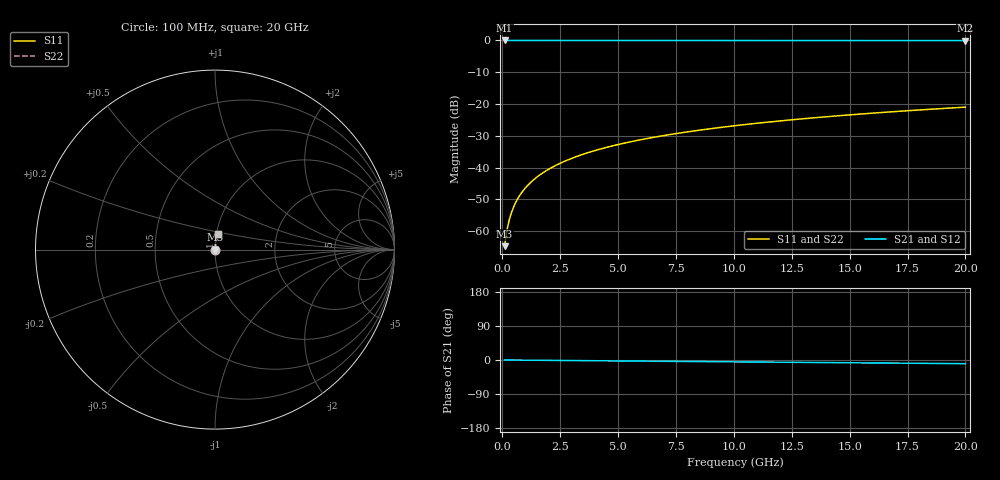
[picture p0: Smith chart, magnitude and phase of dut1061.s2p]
! Touchstone file exported from HFSS 2026.1.0
!  File:  C:/ffzhzh/LocalFiles/Ansys_Project_Files/temp_train_TSV_1061_1783189671_18472.aedt
!  Generated:  02:29:48 AM Jul  5, 2026
!  Design:  TSV
!  Project:  temp_train_TSV_1061_1783189671_18472
! Variables:
!  h_bsmrdl = 2um
!  h_ox = 20um
!  h_rdl = 5um
!  h_sub = 76.86um
!  h_tmrdl = 5um
!  h_tsv = 76.86um
!  h_via = 3um
!  l_bsmrdl = 300um
!  l_sub = 411.32um
!  l_tmrdl = 200um
!  m_sub = 200um
!  pitch = 54.51um
!  r_tsv = 5.66um
!  s_tmrdl = 10um
!  w_bsmrdl = 18um
!  w_sub = 500um
!  w_tmrdl = 12um
!  x_tsv_center1 = 206um
!  x_tsv_center2 = 524um
!  x_tsv_center3 = 736um
!  x_tsv_center4 = 1054um
!  x_tsv_center5 = 1266um
!  x_tsv_center6 = 1584um
# GHz S MA R 50.000000
! Terminal data exported
! Port[1] = TSV1_1_T1
! Port[2] = TSV1_1_T2
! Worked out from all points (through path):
!   200 points, 100 MHz to 20 GHz, reference 50 ohm
!   highest |S21| = 0.00 dB at 100 MHz (marker M1); lowest = -0.1 dB at 20 GHz (marker M2)
!   group delay of S21, straight-line fit = 1.34 ps
!   lowest |S11| = -64.8 dB at 100 MHz (marker M3), VSWR 1.00, Z = 50 + j0.049 ohm
!   |S11| at or under -10 dB: start of sweep to end of sweep
!   |S22| runs from -64.8 to -21.0 dB; largest |S21 - S12| = 5.3e-15
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0.1  0.0005778 57.9  0.9997 -0.1  0.9997 -0.1  0.0005778 57.9
! Gamma 0 0 0 0
! Port Impedance 50 0 50 0
0.2  0.001027 72.0  0.9997 -0.1  0.9997 -0.1  0.001027 72.0
0.3  0.001499 77.2  0.9997 -0.2  0.9997 -0.2  0.001499 77.2
0.4  0.001974 79.8  0.9997 -0.2  0.9997 -0.2  0.001974 79.8
0.5  0.002448 81.3  0.9996 -0.3  0.9996 -0.3  0.002448 81.3
0.6  0.00292 82.2  0.9996 -0.3  0.9996 -0.3  0.00292 82.2
0.7  0.003389 82.9  0.9996 -0.4  0.9996 -0.4  0.003389 82.9
0.8  0.003856 83.4  0.9996 -0.4  0.9996 -0.4  0.003856 83.4
1  0.004785 84.1  0.9995 -0.5  0.9995 -0.5  0.004785 84.1
1.4  0.006629 84.9  0.9995 -0.7  0.9995 -0.7  0.006629 84.9
1.7  0.008007 85.2  0.9994 -0.8  0.9994 -0.8  0.008007 85.2
2  0.009383 85.4  0.9994 -1.0  0.9994 -1.0  0.009383 85.4
2.7  0.01258 85.6  0.9992 -1.3  0.9992 -1.3  0.01258 85.6
3.5  0.01622 85.6  0.9991 -1.7  0.9991 -1.7  0.01622 85.6
4.2  0.01939 85.5  0.999 -2.1  0.999 -2.1  0.01939 85.4
5  0.023 85.2  0.9988 -2.5  0.9988 -2.5  0.023 85.2
6.8  0.03106 84.7  0.9984 -3.3  0.9984 -3.3  0.03106 84.7
8.3  0.03775 84.1  0.9981 -4.1  0.9981 -4.1  0.03775 84.1
10.1  0.04576 83.4  0.9976 -4.9  0.9976 -4.9  0.04576 83.4
13.4  0.06035 82.1  0.9967 -6.5  0.9967 -6.5  0.06035 82.1
16.7  0.07484 80.6  0.9955 -8.1  0.9955 -8.1  0.07484 80.6
20  0.08919 79.1  0.9942 -9.7  0.9942 -9.7  0.08919 79.1
